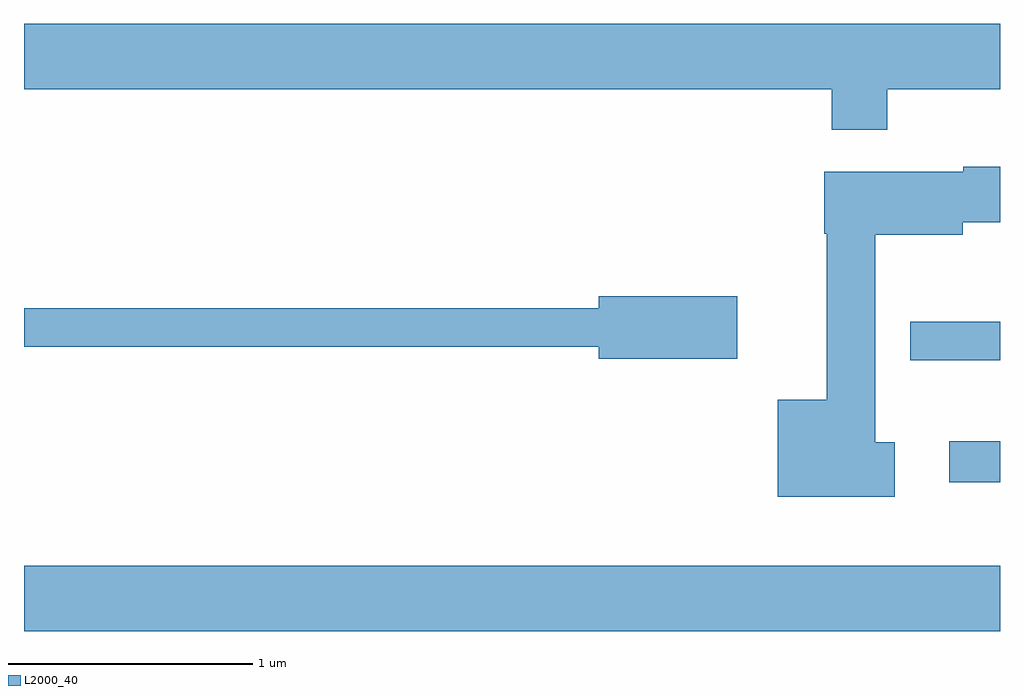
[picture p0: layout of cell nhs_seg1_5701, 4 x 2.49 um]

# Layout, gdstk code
import gdstk
lib = gdstk.Library(unit=1e-6, precision=1e-09)
def R(c, l, rs):  # rectangles x0, y0, x1, y1
    for r in rs: c.add(gdstk.rectangle(r[:2], r[2:], *l))
def P(c, l, *ps):  # polygons
    for p in ps: c.add(gdstk.Polygon(p, *l))
L2000_40 = (2000, 40)

nhs_seg1_5701 = lib.new_cell('nhs_seg1_5701')
R(nhs_seg1_5701, L2000_40, [(357.611,855.176,361.611,855.444), (361.403,855.786,361.611,855.954), (361.243,856.286,361.611,856.444)])
P(nhs_seg1_5701, L2000_40, [(361.149,857.396),(361.611,857.396),(361.611,857.664),(357.611,857.664),(357.611,857.396),(360.921,857.396),(360.921,857.231),(361.149,857.231)],
  [(361.179,855.949),(361.099,855.949),(361.099,856.801),(361.459,856.801),(361.459,856.851),(361.611,856.851),(361.611,857.079),(361.461,857.079),(361.461,857.059),(360.891,857.059),(360.891,856.805),(360.901,856.805),(360.901,856.124),(360.701,856.124),(360.701,855.726),(361.179,855.726)],
  [(360.534,856.549),(359.966,856.549),(359.966,856.499),(357.611,856.499),(357.611,856.341),(359.966,856.341),(359.966,856.291),(360.534,856.291)])

lib.write_gds('nhs_seg1_5701.gds')
